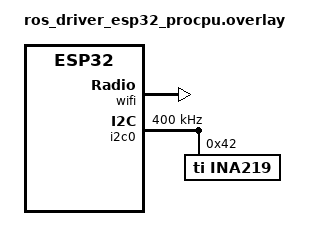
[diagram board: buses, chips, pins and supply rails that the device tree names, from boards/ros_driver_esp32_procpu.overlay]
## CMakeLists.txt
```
cmake_minimum_required(VERSION 3.20.0)

find_package(Zephyr REQUIRED HINTS $ENV{ZEPHYR_BASE})

project(rasprover)

# Shared application code (see applications/common/).
include(${CMAKE_CURRENT_LIST_DIR}/../common/build_id/build_id.cmake)
include(${CMAKE_CURRENT_LIST_DIR}/../common/watchdog/watchdog.cmake)
include(${CMAKE_CURRENT_LIST_DIR}/../common/img_confirm/img_confirm.cmake)
include(${CMAKE_CURRENT_LIST_DIR}/../common/time/time.cmake)

# Pico-ROS generates serdes code for every type in this list, so it is a
# rasprover-specific trim of upstream's examples/example_types.h rather than
# the whole ROS type universe. Must be set before picoros.cmake is included.
set(PICOROS_USER_TYPE_FILE "${CMAKE_CURRENT_LIST_DIR}/src/rasprover_types.h")
include(${CMAKE_CURRENT_LIST_DIR}/../common/picoros/picoros.cmake)

# We always want colored gcc output
zephyr_compile_options(-fdiagnostics-color=always)

target_sources(app PRIVATE
  src/main.c
  src/app_sensors.c
  src/app_settings.c
)

target_sources_ifdef(CONFIG_APP_DISPLAY app PRIVATE src/app_display.c)

target_sources_ifdef(CONFIG_NETWORKING app PRIVATE src/app_network.c)
target_sources_ifdef(CONFIG_APP_PICOROS app PRIVATE src/app_picoros.c)
target_sources_ifdef(CONFIG_APP_MOTORS app PRIVATE src/app_motors.c)
target_sources_ifdef(CONFIG_APP_GIMBAL app PRIVATE src/app_gimbal.c)

if(CONFIG_APP_HTTP)
  target_sources(app PRIVATE src/app_http.c)
  zephyr_linker_sources(SECTIONS sections-rom.ld)
  zephyr_linker_section(NAME http_resource_desc_rasprover_http
    KVMA RAM_REGION GROUP RODATA_REGION
  )
endif()

# On Debian/Ubuntu, libsdl2-dev uses a multiarch include path that Zephyr's
# build doesn't pick up automatically. Add it via pkg-config when present.
# On Debian/Ubuntu, libsdl2-dev puts _real_SDL_config.h under a multiarch
# path (/usr/include/<triplet>/SDL2/) that Zephyr's NSI bottom-layer build
# doesn't find. NSI_BUILD_OPTIONS comes from native_simulator's compile
# options, so we add the multiarch path there.
if(CONFIG_SDL_DISPLAY)
  execute_process(
    COMMAND gcc -dumpmachine
    OUTPUT_VARIABLE _host_triplet OUTPUT_STRIP_TRAILING_WHITESPACE)
  set(_sdl_multiarch "/usr/include/${_host_triplet}")
  if(EXISTS "${_sdl_multiarch}/SDL2/_real_SDL_config.h")
    # For CMake (Zephyr kernel) targets
    zephyr_include_directories("${_sdl_multiarch}")
    # For the NSI bottom-layer Makefile (display_sdl_bottom.c etc.)
    if(TARGET native_simulator)
      target_compile_options(native_simulator INTERFACE "-I${_sdl_multiarch}")
    endif()
  endif()
endif()
```

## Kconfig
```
mainmenu "Application options"

# Workaround for an upstream regression: mcumgr's img_mgmt.c references
# CONFIG_FLASH_BASE_ADDRESS, but arch/Kconfig only defines that symbol for
# ARC/ARM/ARM64/X86/RISCV/RX/OPENRISC/ARCH_POSIX — not Xtensa. ESP32 flash
# partition addresses are zero-based offsets, so 0 is the correct base.
# Remove once deps/zephyr carries the upstream fix.
config FLASH_BASE_ADDRESS
	hex
	depends on XTENSA
	default 0

if DNS_RESOLVER

config DNS_SERVER_IP_ADDRESSES
	default y

config DNS_SERVER1
	default "1.1.1.1"

endif # DNS_RESOLVER

menuconfig APP_DISPLAY
	bool "Enable App Display"
	select DISPLAY
	select LVGL
	# select LV_CONF_MINIMAL

if APP_DISPLAY

config APP_DISPLAY_BLANK_ON_IDLE
	bool "Blank display on idle"
#	default y if SSD1306

choice APP_DISPLAY_WORK_QUEUE
	prompt "Work queue selection for UI updates"

config APP_DISPLAY_WORK_QUEUE_SYSTEM
	bool "Use default system work queue for UI updates"

config APP_DISPLAY_WORK_QUEUE_DEDICATED
	bool "Use dedicated work queue for UI updates"

endchoice

if APP_DISPLAY_WORK_QUEUE_DEDICATED

config APP_DISPLAY_DEDICATED_THREAD_STACK_SIZE
	int "Stack size for dedicated UI thread/queue"
	default 2048

config APP_DISPLAY_DEDICATED_THREAD_PRIORITY
	int "Thread priority for dedicated UI thread/queue"
	default 5

endif # APP_DISPLAY_WORK_QUEUE_DEDICATED

endif # APP_DISPLAY

menuconfig APP_PICOROS
	bool "Enable the Pico-ROS node"
	select PICOROS
	default y
	help
	  Publishes BatteryState and JointState and subscribes to Twist and
	  JointState commands as an rmw_zenoh-compatible ROS 2 node. Replaces
	  the previous raw zenoh-pico publisher, which produced bare CDR under
	  rt/<topic> for a host-side zenoh-bridge-ros2dds.

if APP_PICOROS

config APP_PICOROS_LOCATOR
	string "Zenoh locator for the host router"
	default "tcp/192.168.1.10:7447"
	help
	  Locator string passed to picoros_interface_init() as the connect
	  endpoint. Format is '<protocol>/<host>:<port>'. The host runs
	  rmw_zenohd (the router that ships with rmw_zenoh), whose default
	  listen endpoint is tcp/0.0.0.0:7447.

config APP_PICOROS_NODE_NAME
	string "ROS 2 node name"
	default "rasprover"
	help
	  Name this node announces in its @ros2_lv liveliness token, and the
	  name `ros2 node list` shows. Service key expressions are prefixed
	  with it; topic key expressions are not.

config APP_PICOROS_DOMAIN_ID
	int "ROS domain ID"
	default 0
	range 0 232
	help
	  Must match ROS_DOMAIN_ID on the host. It is the first segment of
	  every key expression, so a mismatch shows up as a node that connects
	  to the router but is invisible to ROS.

config APP_PICOROS_BATTERY_STATE_TOPIC
	string "ROS topic for sensor_msgs/BatteryState"
	default "rasprover/battery_state"
	help
	  Fully qualified ROS topic name without the leading slash. Pico-ROS
	  builds the rmw_zenoh key expression
	  <domain>/<topic>/<type>_/RIHS01_<hash> from it, so unlike the old
	  zenoh keys this must not carry an 'rt/' prefix.

config APP_PICOROS_CMD_VEL_TOPIC
	string "ROS topic for geometry_msgs/Twist velocity commands"
	default "rasprover/cmd_vel"
	depends on APP_MOTORS

config APP_PICOROS_JOINT_STATE_TOPIC
	string "ROS topic for sensor_msgs/JointState feedback"
	default "joint_states"
	depends on APP_MOTORS
	help
	  Unprefixed by default so it lands on the conventional ROS 2
	  /joint_states that robot_state_publisher listens on.

config APP_PICOROS_JOINT_STATE_PUBLISH_HZ
	int "JointState publish rate in Hz"
	default 20
	range 1 100
	depends on APP_MOTORS

endif # APP_PICOROS

menuconfig APP_MOTORS
	bool "Enable differential drive motor control"
	default y
	depends on ACTUATOR
	help
	  Drives the two h-bridge wheel motors from cmd_vel twist commands
	  with open-loop duty mixing and a stop-on-silence watchdog.

if APP_MOTORS

config APP_MOTORS_WHEEL_SEPARATION_MM
	int "Wheel separation (track width) in mm"
	default 125
	help
	  Distance between the left and right wheel contact points.
	  Vendor value for the Waveshare RaspRover is 125 mm.

config APP_MOTORS_MAX_SPEED_MM_S
	int "Wheel speed mapped to 100% duty, in mm/s"
	default 500
	help
	  Open-loop scaling: a commanded wheel speed of this magnitude
	  produces full PWM duty. Tune on hardware.

config APP_MOTORS_CMD_TIMEOUT_MS
	int "Stop motors after this many ms without a cmd_vel"
	default 500

endif # APP_MOTORS

menuconfig APP_GIMBAL
	bool "Enable gimbal bus-servo control"
	default y
	depends on ACTUATOR
	help
	  Controls the Waveshare pan/tilt gimbal through two actuator devices.

if APP_GIMBAL

config APP_PICOROS_GIMBAL_CMD_TOPIC
	string "ROS topic for gimbal JointState commands"
	default "rasprover/gimbal_cmd"
	depends on APP_PICOROS
	help
	  sensor_msgs/JointState position setpoints for the pan/tilt head. A
	  command must name both pan_joint and tilt_joint; partial commands are
	  rejected.

endif # APP_GIMBAL

menuconfig APP_HTTP
	bool "Read-only HTTP status page"
	depends on NETWORKING
	select HTTP_SERVER
	help
	  Serves GET / (a page that polls) and GET /status.json with power,
	  wheel and gimbal state. Unauthenticated and plain HTTP: bring-up
	  only, on a trusted network.

if APP_HTTP

config APP_HTTP_PORT
	int "HTTP status page port"
	default 80

# DRAM is the constraint (see README "Memory budget"): HTTP/1.1 only, two
# clients, and the 3072-byte stack the server picks without FILE_SYSTEM --
# ZMS pulls that in, but no resource here serves from a filesystem.
configdefault HTTP_SERVER_VERSION_2
	default n

configdefault HTTP_SERVER_MAX_CLIENTS
	default 2

configdefault HTTP_SERVER_STACK_SIZE
	default 3072

endif # APP_HTTP

rsource "../common/picoros/Kconfig"
rsource "../common/time/Kconfig"
rsource "../common/build_id/Kconfig"
rsource "../common/watchdog/Kconfig"
rsource "../common/img_confirm/Kconfig"

source "Kconfig.zephyr"
```

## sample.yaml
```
# This file is provided so that the application can be compiled using Twister,
# the Zephyr testing tool. In this file, multiple combinations can be specified,
# so that you can easily test all of them locally or in CI.
sample:
  description: ROS Driver application
  name: ros-driver 
common:
  build_only: true
  integration_platforms:
    - ros_driver
tests:
  app.default: {}
  app.debug:
    extra_overlay_confs:
      - debug.conf
```

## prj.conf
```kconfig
# Application
# 4096, not 3072: picoros_{node,publisher,subscriber}_declare() each build an
# rmw_zenoh key expression in a 400-byte stack buffer (KEYEXPR_SIZE), and the
# liveliness variant adds a 124-byte mangled-topic buffer on top, all from
# main() via app_picoros_init().
#
# This costs 5 KB of DRAM, not 1 KB. zenoh-pico's Zephyr platform layer sizes
# its pool of preallocated pthread stacks at CONFIG_MAIN_STACK_SIZE
# (Z_PTHREAD_STACK_SIZE_DEFAULT in src/system/zephyr/system.c), so raising main
# raises all CONFIG_ZENOH_PICO_THREADS_NUM (4) of them too:
# thread_stack_area grows 12 KB -> 16 KB. CONFIG_ZENOH_PICO_THREADS_NUM=2 below
# claws that back.
CONFIG_MAIN_STACK_SIZE=4096
# The WiFi reconnect path (wifi_connectivity's retry -> NET_REQUEST_WIFI_CONNECT_STORED
# -> esp32_wifi_connect) runs here and peaked at 1888 B measured. sys_work_q_stack
# sits directly above z_main_stack, so an overflow does not fault: it overwrites
# main's saved context while main blocks in app_net_connect(), and the board dies
# later in z_swap. 3072 keeps a third spare.
CONFIG_SYSTEM_WORKQUEUE_STACK_SIZE=3072
CONFIG_SHELL=y
CONFIG_REBOOT=y

# Logging. Without CONFIG_LOG every LOG_* in the app compiles out. Immediate
# mode to the UART: the deferred-mode image failed to boot on this board
# ("Failed to init flash chip" before main); not yet understood.
CONFIG_LOG=y
CONFIG_LOG_MODE_IMMEDIATE=y
CONFIG_SHELL_LOG_BACKEND=n
CONFIG_LOG_BACKEND_UART=y

# Flash and Settings
CONFIG_FLASH=y
CONFIG_FLASH_MAP=y
CONFIG_ZMS=y
CONFIG_SETTINGS=y

# Firmware upgrade (MCUboot OTA receiver)
CONFIG_STREAM_FLASH=y
CONFIG_IMG_MANAGER=y
CONFIG_IMG_ERASE_PROGRESSIVELY=y
CONFIG_MCUBOOT_IMG_MANAGER=y

# MCUmgr: SMP protocol for OTA image upload and OS management
CONFIG_ZCBOR=y
CONFIG_MCUMGR=y
CONFIG_MCUMGR_GRP_IMG=y
CONFIG_MCUMGR_GRP_OS=y

# SMP over shell UART (shares existing console - use mcumgr CLI or nRF Connect)
CONFIG_BASE64=y
CONFIG_MCUMGR_TRANSPORT_SHELL=y

# No Bluetooth (so no SMP over BT): its 25 KB heap reservation plus the OLED's
# LVGL stack do not fit alongside WiFi -- dram0 overflowed by 71.5 KB with all
# three. OTA goes over the shell UART.

# Pico-ROS: appear on the host ROS 2 graph as an rmw_zenoh node over WiFi TCP.
# CONFIG_APP_PICOROS selects CONFIG_PICOROS, which pulls in zenoh-pico with
# publication, subscription and multi-threading; only the link type is left to
# the application. It also selects ZENOH_PICO_QUERY and ZENOH_PICO_QUERYABLE,
# because picoros.c does not compile without them -- see CONFIG_PICOROS_SERVICES.
CONFIG_APP_PICOROS=y
CONFIG_ZENOH_PICO_LINK_TCP=y
CONFIG_NET_SOCKETS=y
CONFIG_NET_TCP=y
CONFIG_DNS_RESOLVER=y
CONFIG_APP_TIME_SYNC=y
# Only the read and lease tasks are ever started, and each slot costs a
# CONFIG_MAIN_STACK_SIZE stack.
CONFIG_ZENOH_PICO_THREADS_NUM=2
# zenoh-pico's z_malloc() is k_malloc(): the *system* heap, shared with the
# ESP32 WiFi driver. Zephyr sizes that heap as max(this, sum of the
# HEAP_MEM_POOL_ADD_SIZE_* reservations ~= 56 KB, mostly WiFi), so a value below
# 56 KB changes nothing. Measured: 32.6 KB in use before the session opens,
# 50.3 KB after, 56.5 KB peak. Too small shows up as "esp32_wifi_adapter: memory
# allocation failed" and failed zenoh declarations.
CONFIG_HEAP_MEM_POOL_SIZE=73728

# Drivers
CONFIG_I2C=y
CONFIG_I2C_SHELL=y
CONFIG_SENSOR=y

# Motors: h-bridge actuators + PCNT encoders
CONFIG_ACTUATOR=y
CONFIG_ACTUATOR_HBRIDGE=y
CONFIG_ACTUATOR_HBRIDGE_ENCODER=y
CONFIG_PWM=y

# Gimbal: UART bus servos exposed as actuators
CONFIG_BUS_SERVO=y
CONFIG_ACTUATOR_BUS_SERVO=y
CONFIG_UART_INTERRUPT_DRIVEN=y
CONFIG_APP_GIMBAL=y

# OLED Display: off on hardware (see Bluetooth above for why); native_sim
# turns it back on for the SDL display.
CONFIG_APP_DISPLAY=n

# Networking
CONFIG_NETWORKING=y
CONFIG_NET_IPV4=y
CONFIG_NET_L2_ETHERNET=y
CONFIG_NET_L2_WIFI_MGMT=y
CONFIG_NET_DHCPV4=y
# A 2 KB zenoh batch alone spans 16 of the 128-byte TX buffers; the default 36
# gave _Z_ERR_TRANSPORT_TX_FAILED on the fourth declaration of the startup burst.
CONFIG_NET_BUF_TX_COUNT=64
CONFIG_NET_PKT_TX_COUNT=24

# WiFi connection management: conn_mgr + stored credentials, with the
# CONNECTIVITY_WIFI_MGMT implementation from the rosterloh-drivers module.
# Provision over the shell: wifi cred add -s <ssid> -k 1 -p <psk>
CONFIG_WIFI=y
CONFIG_NET_CONNECTION_MANAGER=y
CONFIG_NET_CONNECTION_MANAGER_CONNECTIVITY_WIFI_MGMT=y
CONFIG_WIFI_CREDENTIALS=y
CONFIG_WIFI_CONNECTIVITY=y
CONFIG_NET_L2_WIFI_SHELL=y
# CONFIG_ESP_HEAP_RUNTIME=n
# CONFIG_NET_LOG=y
# CONFIG_NET_SHELL=y
```

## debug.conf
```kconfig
# compiler
CONFIG_DEBUG_OPTIMIZATIONS=y

# Make Logging more responsive for better visualization
#CONFIG_LOG_PROCESS_TRIGGER_THRESHOLD=1
#CONFIG_LED_MODULE_LOG_LEVEL_DBG=y
#CONFIG_BUTTON_MODULE_LOG_LEVEL_DBG=y
```

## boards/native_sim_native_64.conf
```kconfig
# Disable hardware not present on native_sim
CONFIG_BT=n
CONFIG_MCUMGR=n
CONFIG_APP_PICOROS=n
CONFIG_PICOROS=n
CONFIG_ZENOH_PICO=n
CONFIG_NETWORKING=n
# native_sim defaults the WPA supplicant on whenever WIFI=y, and it selects
# sockets and Wi-Fi management that cannot exist without NETWORKING.
CONFIG_WIFI=n
CONFIG_NET_L2_ETHERNET=n
CONFIG_NET_L2_WIFI_MGMT=n
CONFIG_NET_DHCPV4=n
CONFIG_NET_CONNECTION_MANAGER=n
CONFIG_NET_CONNECTION_MANAGER_CONNECTIVITY_WIFI_MGMT=n
CONFIG_WIFI_CREDENTIALS=n
CONFIG_WIFI_CONNECTIVITY=n
CONFIG_NET_L2_WIFI_SHELL=n
CONFIG_STREAM_FLASH=n
CONFIG_IMG_MANAGER=n
CONFIG_IMG_ERASE_PROGRESSIVELY=n
CONFIG_MCUBOOT_IMG_MANAGER=n
CONFIG_NEWLIB_LIBC=n
CONFIG_POSIX_API=n

# Motors: fake actuators replace the h-bridge hardware
CONFIG_ACTUATOR_HBRIDGE=n
CONFIG_ACTUATOR_HBRIDGE_ENCODER=n
CONFIG_ACTUATOR_FAKE=y
CONFIG_PWM=n

# Gimbal: native_sim uses fake actuators instead of the hardware bus.
CONFIG_BUS_SERVO=n
CONFIG_ACTUATOR_BUS_SERVO=n
CONFIG_APP_GIMBAL=y

# Display: prj.conf leaves it off (it does not fit the ESP32 alongside WiFi);
# the SDL display brings it back here with the settings it had before.
CONFIG_APP_DISPLAY=y
# lv_timer_handler() needs far more stack than the 1536-byte system workqueue,
# which it silently overran into the neighbouring thread's stack. Give the UI
# its own queue rather than inflating a workqueue shared with BT and net.
# Measured peak for this screen is 3300-3428 B across runs. 5120 keeps a third
# of the stack spare: overflowing it corrupts a neighbour silently rather than
# faulting, so this is sized for margin, not for the measurement. Re-check with
# `kernel thread list` if the screen gains widgets.
CONFIG_APP_DISPLAY_WORK_QUEUE_DEDICATED=y
CONFIG_APP_DISPLAY_DEDICATED_THREAD_STACK_SIZE=5120
# LVGL is not thread-safe and app_display_update_power() runs on the main
# thread, so app_display.c takes lvgl_lock() around every LVGL call.
CONFIG_LV_Z_LVGL_MUTEX=y
# Monochrome SSD1306: render at 1 bpp. Without this LVGL defaults to 16-bit
# colour, so the Zephyr glue never allocates the mono conversion buffer
# (ALLOC_MONOCHROME_CONV_BUFFER is gated on a 1-bpp build) yet still selects
# the mono flush path at runtime -> NULL mono_conv_buf deref on first render.
CONFIG_LV_COLOR_FORMAT_I1=y
# CONFIG_LVGL=y
# CONFIG_LV_CONF_MINIMAL=y
# LVGL allocates from the C-library (runtime) heap rather than a dedicated
# static .noinit pool: dram0_0_seg static window is full (a >4K static pool
# overflows the link), whereas the runtime malloc heap has room.
CONFIG_LV_Z_MEM_POOL_HEAP_LIB_C=y
# The default theme's runtime style allocations don't fit in the ~5K spare
# DRAM heap; use the lightweight mono theme for the 128x32 OLED instead.
CONFIG_LV_USE_THEME_DEFAULT=n
CONFIG_LV_USE_THEME_MONO=y
CONFIG_LV_USE_LOG=y
CONFIG_LV_USE_LABEL=y
CONFIG_LV_FONT_MONTSERRAT_14=y
# Native SDL/LVGL allocates larger host-side objects than the OLED target.
CONFIG_LV_Z_MEM_POOL_SIZE=16384

# Enable logging so app_motors: motors ready is visible in sim output
CONFIG_LOG=y
```

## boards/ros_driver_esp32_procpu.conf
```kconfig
# Coredump to the 4 KB `coredump` flash partition, here rather than in prj.conf
# because native_sim has no coredump support. Read it back over the shell with
# `coredump find`, `coredump print` and `coredump erase`.
CONFIG_DEBUG_COREDUMP=y
CONFIG_DEBUG_COREDUMP_BACKEND_FLASH_PARTITION=y
CONFIG_DEBUG_COREDUMP_SHELL=y

# The partition cannot hold RAM, so keep the faulting thread's registers and
# the top 2 KB of its stack; the default limit is unbounded.
CONFIG_DEBUG_COREDUMP_MEMORY_DUMP_MIN=y
CONFIG_DEBUG_COREDUMP_THREAD_STACK_TOP_LIMIT_FOR_CURRENT=2048
```

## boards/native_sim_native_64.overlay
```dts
/* Match the SSD1306 128x32 dimensions */
&sdl_dc {
	width = <128>;
	height = <32>;
};

/* Fake actuators so motor and gimbal paths run in sim */
/ {
	aliases {
		left-motor = &fake_motor_left;
		right-motor = &fake_motor_right;
		gimbal-pan = &fake_gimbal_pan;
		gimbal-tilt = &fake_gimbal_tilt;
	};

	fake_motor_left: fake-motor-left {
		compatible = "rosterloh,actuator-fake";
	};

	fake_motor_right: fake-motor-right {
		compatible = "rosterloh,actuator-fake";
	};

	fake_gimbal_pan: fake-gimbal-pan {
		compatible = "rosterloh,actuator-fake";
	};

	fake_gimbal_tilt: fake-gimbal-tilt {
		compatible = "rosterloh,actuator-fake";
	};
};
```

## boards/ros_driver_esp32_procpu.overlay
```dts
/* solomon,ssd1306fb was removed; the bus-agnostic successor is solomon,ssd1306 */
&ssd1306_ssd1306_128x32 {
	compatible = "solomon,ssd1306";
};

/* Zephyr's esp32 dtsi leaves the radio disabled; CONFIG_WIFI alone is not enough. */
&wifi {
	status = "okay";
};

&i2c0 {
	/* Run the bus at 400 kHz (Fast-mode), matching the rasprover-rs firmware
	 * that drives the SSD1306/INA219 correctly on this hardware.
	 */
	clock-frequency = <400000>;

	ina219: ina219@42 {
		compatible = "ti,ina219";
		reg = <0x42>;
		brng = <0>;
		pg = <3>;
		sadc = <13>;
		badc = <13>;
		shunt-milliohm = <10>;
		lsb-microamp = <1000>;
	};
};

/*
 * The pan/tilt head's measured geometry.
 *
 * The ros_driver board devicetree creates these two nodes -- the servo
 * connector is on the board -- but carries no values for them, because what is
 * bolted to the connector is not the board's to know. Everything the servos
 * have in common with every other ST3215 (ticks-per-rev 4096, rad-zero-tick
 * 2047, speed 300, accel 20) is already defaulted by
 * rosterloh,actuator-bus-servo.yaml and is deliberately not restated here.
 *
 * Only what is measured on THIS rig belongs below. Both limits must be set:
 * an absent one means unlimited travel, and rad_to_ticks() clamps silently in
 * either direction, so a wrong value shows up as missing travel rather than as
 * an error.
 *
 * The tilt minimum is the measured one, not the one ros_driver's devicetree
 * used to carry. -785 mrad (-45 deg) was measured 2026-08-03 against a levelled
 * bore-sight: the mechanical stop is at -51.0 deg (compliant from -50.0), so
 * this leaves ~6 deg of margin. The board's old -524 gave away 15 deg of the
 * travel that faces the ground once the head hangs inverted, and rad_to_ticks()
 * clamped to it without a word.
 */
&gimbal_pan_servo {
	/* +/-180 deg; pan has no mechanical stop, the limit is the cable loom. */
	position-min-rad-milli = <(-3142)>;
	position-max-rad-milli = <3142>;
};

&gimbal_tilt_servo {
	position-min-rad-milli = <(-785)>;
	/* Positive stop measured +96.1 deg (compliant from +95.4), so +90 deg
	 * keeps ~5.4 deg of margin -- both ends carry a similar margin.
	 */
	position-max-rad-milli = <1571>;

	/* The tilt servo faces the opposite way to the joint's positive sense.
	 * A devicetree boolean cannot be un-set by a later fragment, so this is
	 * asserted here rather than in the board: an application on different
	 * mechanics would otherwise need /delete-property/ to get rid of it.
	 */
	invert-position;
};

/* Slew-limit the wheel duty so a cmd_vel step or reversal does not slam the
 * gearmotors: 0 to full in 0.5 s, full to 0 in 0.25 s. Starting values, not
 * tuned on the rover. The cmd_vel watchdog's COAST bypasses the ramp.
 */
&left_motor {
	ramp-up-permille-per-s = <2000>;
	ramp-down-permille-per-s = <4000>;
};

&right_motor {
	ramp-up-permille-per-s = <2000>;
	ramp-down-permille-per-s = <4000>;
};
```

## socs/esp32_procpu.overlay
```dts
/* Reset-reason record (applications/common/reset_reason) in the last 256 bytes
 * of RTC slow RAM, which software and watchdog resets leave intact.
 */
/ {
	/* Coredump pseudo-device: applications/common/build_id registers the
	 * build-ID note with it at boot, so every dump names its ELF.
	 */
	app_coredump: app-coredump {
		compatible = "zephyr,coredump";
		coredump-type = "COREDUMP_TYPE_MEMCPY";
	};

	memory@50001f00 {
		compatible = "zephyr,memory-region", "mmio-sram";
		reg = <0x50001f00 0x100>;
		ranges = <0x0 0x50001f00 0x100>;
		#address-cells = <1>;
		#size-cells = <1>;
		zephyr,memory-region = "RTC_SLOW_RAM_RETAINED_MEM";
		status = "okay";

		retainedmem0: retainedmem {
			compatible = "zephyr,retained-ram";
			ranges;
			#address-cells = <1>;
			#size-cells = <1>;
			status = "okay";

			app_reset_reason: retention@0 {
				compatible = "zephyr,retention";
				reg = <0x0 0x40>;
				prefix = [52 53 54 52];
				checksum = <2>;
			};
		};
	};
};

/* 8 KB - 256 bytes, so the linker keeps out of the retained region. */
&rtc_slow_ram {
	reg = <0x50000000 0x1f00>;
};
```

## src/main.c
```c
#include <zephyr/logging/log.h>
LOG_MODULE_REGISTER(main, LOG_LEVEL_DBG);

#include "app_display.h"
#include "app_gimbal.h"
#include "app_http.h"
#include "app_img_confirm.h"
#include "app_motors.h"
#include "app_network.h"
#include "app_picoros.h"
#include "app_sensors.h"
#include "app_settings.h"
#include "app_time.h"
#include "app_watchdog.h"
#include <zephyr/drivers/i2c.h>
#include <zephyr/init.h>
#include <zephyr/kernel.h>

/* i2c0 comes up busy from a cold boot, so the SSD1306, ICM-20948 and INA219 all
 * fail their init with -EBUSY and stay DISABLED for the life of the boot --
 * Zephyr never retries a failed driver init. i2c_esp32 provides .recover_bus
 * but nothing calls it, so clear the bus here, after the controller
 * (I2C_INIT_PRIORITY=50) and before its children (DISPLAY=85, SENSOR=90).
 */
static int recover_i2c0(void)
{
	const struct device *i2c0 = DEVICE_DT_GET(DT_NODELABEL(i2c0));

	if (!device_is_ready(i2c0)) {
		return -ENODEV;
	}

	return i2c_recover_bus(i2c0);
}

SYS_INIT(recover_i2c0, POST_KERNEL, 60);

static k_tid_t _system_thread = 0;

void wake_system_thread(void)
{
	k_wakeup(_system_thread);
}

int main(void)
{
	LOG_INF("Firmware version: %s", STRINGIFY(APP_VERSION_MAJOR) "." STRINGIFY(APP_VERSION_MINOR) "." STRINGIFY(APP_PATCHLEVEL));

	_system_thread = k_current_get();

	/* Cover the init sequence, not just the superloop: the hangs this
	 * watchdog exists for happen during boot, inside app_net_connect().
	 *
	 * Sized off the longest legitimate *single* step rather than the total,
	 * because the channel is fed between steps. That step is
	 * app_net_connect(), bounded at NET_CONNECT_TIMEOUT (30 s) by its
	 * k_sem_take(). Everything else is either non-blocking (app_time_start()
	 * and app_display_init() only submit work) or bounded well under it
	 * (picoros_interface_init()'s z_open() by
	 * PICOROS_TRANSPORT_CONNECT_TIMEOUT_MS, 10 s; the locator
	 * is an IP literal, so no DNS resolve). 60 s is 2x that worst step,
	 * leaving room for a driver that overruns its own bound. */
	app_watchdog_init();
	int wdt_channel = app_watchdog_register("boot", 60000);

	/* Healthy = first pico-ros publish; see app_picoros.c. */
	app_img_confirm_arm();

	app_sensors_init();
#ifdef CONFIG_APP_MOTORS
	app_motors_init();
#endif
#ifdef CONFIG_APP_GIMBAL
	app_gimbal_init();
#endif

	app_watchdog_feed(wdt_channel);
	app_net_connect();
	/* Bound to INADDR_ANY, so a link that comes up later is still served. */
	(void)app_http_start();
	if (app_net_ipv4_ready()) {
		app_watchdog_feed(wdt_channel);
		app_time_start();
		app_picoros_init();
	} else {
		LOG_WRN("Network unavailable; skipping time sync and pico-ros");
	}

	app_watchdog_feed(wdt_channel);
#ifdef CONFIG_APP_DISPLAY
	app_display_init();
#endif

	/* Boot done: swap the boot channel for the steady-state one. Its timeout
	 * is derived from the loop delay rather than hardcoded, so it can't
	 * silently break when that setting changes. One registration is enough
	 * because the only writer of the delay is settings_load(), which runs
	 * from SYS_INIT at APPLICATION level — i.e. before main() — so it cannot
	 * change while the loop runs.
	 * ponytail: single registration; if a runtime setter for the loop delay
	 * is ever added, re-register (unregister + register) when it changes.
	 *
	 * 3x the loop period plus 10 s of headroom tolerates a slow sensor read
	 * or a blocked pico-ros publish while still catching a real stall. */
	app_watchdog_unregister(wdt_channel);
	wdt_channel = app_watchdog_register("main", get_loop_delay_s() * 3000 + 10000);

	while (true) {
		app_watchdog_feed(wdt_channel);
		app_sensors_read_and_stream();

		k_sleep(K_SECONDS(get_loop_delay_s()));
	}
}
```

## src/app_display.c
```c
#include <zephyr/logging/log.h>
LOG_MODULE_REGISTER(app_display, LOG_LEVEL_DBG);

#include <stdio.h>
#include <zephyr/device.h>
#include <zephyr/devicetree.h>
#include <zephyr/drivers/display.h>
#include <zephyr/init.h>
#include <zephyr/kernel.h>
#include <lvgl.h>
#include <lvgl_zephyr.h>

#include <zephyr/app_version.h>

#include "app_display.h"

static const struct device *display = DEVICE_DT_GET_OR_NULL(DT_CHOSEN(zephyr_display));
static bool initialised;

static lv_obj_t *power_label;
static lv_obj_t *status_label;

/* --- tick / work --------------------------------------------------------- */

/* LVGL is not thread-safe and app_display_update_power() is called from the
 * main thread, so every LVGL call is taken under the module's mutex.
 */
static void display_tick_cb(struct k_work *work)
{
	lvgl_lock();
	lv_timer_handler();
	lvgl_unlock();
}

K_WORK_DEFINE(display_tick_work, display_tick_cb);

#if IS_ENABLED(CONFIG_APP_DISPLAY_WORK_QUEUE_DEDICATED)
K_THREAD_STACK_DEFINE(display_work_stack_area, CONFIG_APP_DISPLAY_DEDICATED_THREAD_STACK_SIZE);
static struct k_work_q display_work_q;
#endif

static struct k_work_q *app_display_work_q(void)
{
#if IS_ENABLED(CONFIG_APP_DISPLAY_WORK_QUEUE_DEDICATED)
	return &display_work_q;
#else
	return &k_sys_work_q;
#endif
}

static void display_timer_cb(struct k_timer *timer)
{
	k_work_submit_to_queue(app_display_work_q(), &display_tick_work);
}

K_TIMER_DEFINE(display_timer, display_timer_cb, NULL);

static void unblank_display_cb(struct k_work *work)
{
	display_blanking_off(display);
	k_timer_start(&display_timer, K_MSEC(10), K_MSEC(10));
}

K_WORK_DEFINE(unblank_work, unblank_display_cb);

#if IS_ENABLED(CONFIG_APP_DISPLAY_BLANK_ON_IDLE)
static void blank_display_cb(struct k_work *work)
{
	k_timer_stop(&display_timer);
	display_blanking_on(display);
}

K_WORK_DEFINE(blank_work, blank_display_cb);

void app_display_blank(void)
{
	k_work_submit_to_queue(app_display_work_q(), &blank_work);
}

void app_display_unblank(void)
{
	k_work_submit_to_queue(app_display_work_q(), &unblank_work);
}
#endif

/* --- public update ------------------------------------------------------- */

void app_display_update_power(double v, double i, double p)
{
	if (!initialised) {
		return;
	}

	char buf[32];

	snprintf(buf, sizeof(buf), "%.2fV  %.3fA  %.2fW", v, i, p);

	lvgl_lock();
	lv_label_set_text(power_label, buf);
	lvgl_unlock();
}

/* --- screen build -------------------------------------------------------- */

static lv_obj_t *build_screen(void)
{
	lv_obj_t *scr = lv_obj_create(NULL);

	lv_obj_set_style_bg_color(scr, lv_color_black(), LV_PART_MAIN);
	lv_obj_set_style_text_color(scr, lv_color_white(), LV_PART_MAIN);
	lv_obj_set_style_pad_all(scr, 0, LV_PART_MAIN);

	power_label = lv_label_create(scr);
	lv_label_set_text(power_label, "--.- V  -.--- A  -.- W");
	lv_obj_set_style_text_color(power_label, lv_color_white(), LV_PART_MAIN);
	lv_obj_align(power_label, LV_ALIGN_TOP_LEFT, 2, 0);

	status_label = lv_label_create(scr);
	lv_label_set_text(status_label, "Rasprover v" APP_VERSION_STRING);
	lv_obj_set_style_text_color(status_label, lv_color_make(0x80, 0x80, 0x80), LV_PART_MAIN);
	lv_obj_align(status_label, LV_ALIGN_BOTTOM_LEFT, 2, 0);

	return scr;
}

/* --- initialise ---------------------------------------------------------- */

static void initialise_display_cb(struct k_work *work)
{
	if (!device_is_ready(display)) {
		LOG_ERR("Display device not ready");
		return;
	}

	lvgl_lock();
	lv_screen_load(build_screen());
	lvgl_unlock();
	initialised = true;

	k_work_submit_to_queue(app_display_work_q(), &unblank_work);
	LOG_INF("Display initialised");
}

K_WORK_DEFINE(init_work, initialise_display_cb);

int app_display_init(void)
{
#if IS_ENABLED(CONFIG_APP_DISPLAY_WORK_QUEUE_DEDICATED)
	/* Named so its stack shows up identifiably in `kernel thread list`,
	 * which is how the stack budget above is checked.
	 */
	static const struct k_work_queue_config cfg = {.name = "display"};

	k_work_queue_start(&display_work_q, display_work_stack_area,
			   K_THREAD_STACK_SIZEOF(display_work_stack_area),
			   CONFIG_APP_DISPLAY_DEDICATED_THREAD_PRIORITY, &cfg);
#endif
	k_work_submit_to_queue(app_display_work_q(), &init_work);
	return 0;
}
```

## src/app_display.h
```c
#ifndef APP_DISPLAY_H
#define APP_DISPLAY_H

int app_display_init(void);
void app_display_update_power(double v, double i, double p);

#if IS_ENABLED(CONFIG_APP_DISPLAY_BLANK_ON_IDLE)
void app_display_blank(void);
void app_display_unblank(void);
#endif

#endif /* APP_DISPLAY_H */
```

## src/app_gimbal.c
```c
#include <zephyr/logging/log.h>
LOG_MODULE_REGISTER(app_gimbal, LOG_LEVEL_INF);

#include <zephyr/actuator/actuator.h>
#include <zephyr/device.h>
#ifdef CONFIG_BUS_SERVO
#include <zephyr/drivers/uart.h>
#include <drivers/bus_servo.h>
#endif

#include "app_gimbal.h"

#ifdef CONFIG_BUS_SERVO
#define SERVO_BUS_NODE DT_NODELABEL(gimbal_servo_bus)
#endif

static const struct device *const pan = DEVICE_DT_GET(DT_ALIAS(gimbal_pan));
static const struct device *const tilt = DEVICE_DT_GET(DT_ALIAS(gimbal_tilt));
static bool ready;

static bool read_joint(const struct device *dev, const char *name,
		       struct app_gimbal_joint_state *joint)
{
	struct actuator_feedback fb;

	if (actuator_read_feedback(dev, &fb) != 0 || !(fb.valid_mask & ACTUATOR_FB_POSITION)) {
		return false;
	}

	*joint = (struct app_gimbal_joint_state){
		.name = name,
		.position_rad = fb.position,
		.velocity_rad_s = (fb.valid_mask & ACTUATOR_FB_VELOCITY) ? fb.velocity : 0.0f,
	};
	return true;
}

bool app_gimbal_init(void)
{
#ifdef CONFIG_BUS_SERVO
	/* The bus device has no init hook: the application configures its UART. */
	struct bus_servo_iface_param param = {
		.rx_timeout_us = 50000,
		.serial =
			{
				.baud = DT_PROP(DT_PARENT(SERVO_BUS_NODE), current_speed),
				.parity = UART_CFG_PARITY_NONE,
			},
	};
	int iface = bus_servo_iface_get_by_name(DEVICE_DT_NAME(SERVO_BUS_NODE));

	if (iface < 0 || bus_servo_init(iface, param) != 0) {
		LOG_ERR("gimbal servo bus init failed");
		return false;
	}
#endif

	if (!device_is_ready(pan) || !device_is_ready(tilt)) {
		LOG_ERR("gimbal devices not ready");
		return false;
	}

	if (actuator_enable(pan) != 0 || actuator_enable(tilt) != 0) {
		LOG_ERR("gimbal enable failed");
		return false;
	}

	ready = true;
	LOG_INF("gimbal ready");
	return true;
}

void app_gimbal_set_positions(float pan_rad, float tilt_rad)
{
	if (!ready) {
		return;
	}

	if (actuator_set_position(pan, pan_rad) != 0) {
		LOG_WRN("pan_joint setpoint failed");
	}
	if (actuator_set_position(tilt, tilt_rad) != 0) {
		LOG_WRN("tilt_joint setpoint failed");
	}
}

bool app_gimbal_read_joint_state(struct app_gimbal_joint_state joints[APP_GIMBAL_JOINT_COUNT])
{
	if (!ready || joints == NULL) {
		return false;
	}

	return read_joint(pan, "pan_joint", &joints[0]) &&
	       read_joint(tilt, "tilt_joint", &joints[1]);
}
```

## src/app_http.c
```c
/*
 * Read-only status page: GET / is a page that polls GET /status.json.
 *
 * The server runs every callback on its own thread at the lowest preemptible
 * priority, one callback at a time, so the single response buffer is safe.
 * Everything it reports is a snapshot or a locked driver read; nothing here
 * can command the robot.
 */

#include <zephyr/logging/log.h>
LOG_MODULE_REGISTER(app_http, LOG_LEVEL_INF);

#include <zephyr/app_version.h>
#include <zephyr/kernel.h>
#include <zephyr/net/http/server.h>
#include <zephyr/net/http/service.h>

#include "app_gimbal.h"
#include "app_http.h"
#include "app_motors.h"
#include "app_network.h"
#include "app_sensors.h"
#include "app_time.h"

static uint16_t http_port = CONFIG_APP_HTTP_PORT;
HTTP_SERVICE_DEFINE(rasprover_http, NULL, &http_port, CONFIG_HTTP_SERVER_MAX_CLIENTS, 1, NULL, NULL,
		    NULL);

static const char index_html[] =
	"<!doctype html><meta charset=utf-8><title>rasprover</title>"
	"<pre id=s>loading</pre><script>"
	"setInterval(async()=>{try{s.textContent=JSON.stringify("
	"await(await fetch('/status.json')).json(),null,2)}catch(e){s.textContent=e}},1000)"
	"</script>";

static struct http_resource_detail_static index_detail = {
	.common =
		{
			.type = HTTP_RESOURCE_TYPE_STATIC,
			.bitmask_of_supported_http_methods = BIT(HTTP_GET),
			.content_type = "text/html",
		},
	.static_data = index_html,
	.static_data_len = sizeof(index_html) - 1,
};

/* Worst case with int32-sized values is ~540 bytes. */
static char body[640];

#define MILLI(x) ((long long)((x) * 1000.0))

static size_t append(size_t len, const char *fmt, ...)
{
	va_list ap;
	int n;

	if (len >= sizeof(body)) {
		return len;
	}
	va_start(ap, fmt);
	n = vsnprintk(body + len, sizeof(body) - len, fmt, ap);
	va_end(ap);
	return len + MAX(n, 0);
}

/* "name":[{...},{...}] or "name":null when the joints can't be read. */
#define APPEND_JOINTS(len, key, joints, ok)                                                        \
	do {                                                                                       \
		if (!(ok)) {                                                                       \
			len = append(len, ",\"" key "\":null");                                    \
			break;                                                                     \
		}                                                                                  \
		len = append(len, ",\"" key "\":[");                                               \
		ARRAY_FOR_EACH(joints, j) {                                                        \
			len = append(len,                                                          \
				     "%s{\"name\":\"%s\",\"position_mrad\":%lld,"                  \
				     "\"velocity_mrad_s\":%lld}",                                  \
				     j ? "," : "", joints[j].name, MILLI(joints[j].position_rad),  \
				     MILLI(joints[j].velocity_rad_s));                             \
		}                                                                                  \
		len = append(len, "]");                                                            \
	} while (0)

static size_t build_status(void)
{
	struct app_power pw;
	size_t len;

	len = append(0, "{\"version\":\"%s\",\"uptime_ms\":%lld,\"net\":%s,\"time_synced\":%s",
		     APP_VERSION_STRING, k_uptime_get(), app_net_ipv4_ready() ? "true" : "false",
		     app_time_synced() ? "true" : "false");

	if (app_sensors_last_power(&pw)) {
		len = append(len,
			     ",\"power\":{\"voltage_mv\":%d,\"current_ma\":%d,\"power_mw\":%d,"
			     "\"age_ms\":%lld}",
			     pw.voltage_mv, pw.current_ma, pw.power_mw,
			     k_uptime_get() - pw.uptime_ms);
	} else {
		len = append(len, ",\"power\":null");
	}

#ifdef CONFIG_APP_MOTORS
	struct app_motors_joint_state wheels[APP_MOTORS_JOINT_COUNT];

	APPEND_JOINTS(len, "wheels", wheels, app_motors_read_joint_state(wheels));
#endif
#ifdef CONFIG_APP_GIMBAL
	struct app_gimbal_joint_state gimbal[APP_GIMBAL_JOINT_COUNT];

	APPEND_JOINTS(len, "gimbal", gimbal, app_gimbal_read_joint_state(gimbal));
#endif

	return append(len, "}");
}

static int status_handler(struct http_client_ctx *client, enum http_transaction_status status,
			  const struct http_request_ctx *req, struct http_response_ctx *rsp,
			  void *user_data)
{
	size_t len;

	ARG_UNUSED(client);
	ARG_UNUSED(req);
	ARG_UNUSED(user_data);

	if (status != HTTP_SERVER_REQUEST_DATA_FINAL) {
		return 0;
	}

	len = build_status();
	if (len >= sizeof(body)) {
		LOG_ERR("status.json truncated");
		return -ENOMEM;
	}

	rsp->body = (const uint8_t *)body;
	rsp->body_len = len;
	rsp->final_chunk = true;
	return 0;
}

static struct http_resource_detail_dynamic status_detail = {
	.common =
		{
			.type = HTTP_RESOURCE_TYPE_DYNAMIC,
			.bitmask_of_supported_http_methods = BIT(HTTP_GET),
			.content_type = "application/json",
		},
	.cb = status_handler,
};

HTTP_RESOURCE_DEFINE(index_res, rasprover_http, "/", &index_detail);
HTTP_RESOURCE_DEFINE(status_res, rasprover_http, "/status.json", &status_detail);

int app_http_start(void)
{
	int ret = http_server_start();

	if (ret != 0) {
		LOG_ERR("http server start failed: %d", ret);
		return ret;
	}

	LOG_INF("status page on port %u", http_port);
	return 0;
}
```

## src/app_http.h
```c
#ifndef APP_HTTP_H
#define APP_HTTP_H

#if IS_ENABLED(CONFIG_APP_HTTP)
int app_http_start(void);
#else
static inline int app_http_start(void)
{
	return 0;
}
#endif

#endif /* APP_HTTP_H */
```

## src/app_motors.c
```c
#include <zephyr/logging/log.h>
LOG_MODULE_REGISTER(app_motors, LOG_LEVEL_INF);

#include <zephyr/actuator/actuator.h>
#include <zephyr/kernel.h>

#include "app_motors.h"

static const struct device *const left_motor = DEVICE_DT_GET(DT_ALIAS(left_motor));
static const struct device *const right_motor = DEVICE_DT_GET(DT_ALIAS(right_motor));

static struct k_work_delayable cmd_watchdog;
static bool ready;

static bool read_joint(const struct device *motor, const char *name,
		       struct app_motors_joint_state *joint)
{
	struct actuator_feedback fb;

	if (actuator_read_feedback(motor, &fb) != 0 || !(fb.valid_mask & ACTUATOR_FB_POSITION)) {
		return false;
	}

	*joint = (struct app_motors_joint_state){
		.name = name,
		.position_rad = fb.position,
		.velocity_rad_s = (fb.valid_mask & ACTUATOR_FB_VELOCITY) ? fb.velocity : 0.0f,
	};
	return true;
}

static void cmd_watchdog_handler(struct k_work *work)
{
	ARG_UNUSED(work);

	(void)actuator_set_duty(left_motor, 0.0f);
	(void)actuator_set_duty(right_motor, 0.0f);
	/* Must come after set_duty(0): setpoints reset the stage to NORMAL,
	 * so COAST last leaves the bridge high-Z. Best-effort: backends without
	 * ACTUATOR_CAP_DRIVE_MODE reject it.
	 */
	(void)actuator_set_drive_mode(left_motor, ACTUATOR_DRIVE_MODE_COAST);
	(void)actuator_set_drive_mode(right_motor, ACTUATOR_DRIVE_MODE_COAST);
	LOG_WRN("cmd_vel timeout, motors stopped");
}

bool app_motors_init(void)
{
	if (!device_is_ready(left_motor) || !device_is_ready(right_motor)) {
		LOG_ERR("motor devices not ready");
		return false;
	}

	if (actuator_enable(left_motor) != 0 || actuator_enable(right_motor) != 0) {
		LOG_ERR("motor enable failed");
		return false;
	}

	k_work_init_delayable(&cmd_watchdog, cmd_watchdog_handler);
	ready = true;
	LOG_INF("motors ready");
	return true;
}

void app_motors_cmd_vel(float linear_x, float angular_z)
{
	if (!ready) {
		return;
	}

	const float half_track_m = (float)CONFIG_APP_MOTORS_WHEEL_SEPARATION_MM / 2000.0f;
	const float max_speed_m_s = (float)CONFIG_APP_MOTORS_MAX_SPEED_MM_S / 1000.0f;
	float v_left = linear_x - angular_z * half_track_m;
	float v_right = linear_x + angular_z * half_track_m;

	/* Open loop: duty scales linearly with speed, full duty at max_speed. */
	(void)actuator_set_duty(left_motor, CLAMP(v_left / max_speed_m_s, -1.0f, 1.0f));
	(void)actuator_set_duty(right_motor, CLAMP(v_right / max_speed_m_s, -1.0f, 1.0f));

	k_work_reschedule(&cmd_watchdog, K_MSEC(CONFIG_APP_MOTORS_CMD_TIMEOUT_MS));
}

bool app_motors_read_joint_state(struct app_motors_joint_state joints[APP_MOTORS_JOINT_COUNT])
{
	if (!ready || joints == NULL) {
		return false;
	}

	return read_joint(left_motor, "left_wheel_joint", &joints[0]) &&
	       read_joint(right_motor, "right_wheel_joint", &joints[1]);
}
```

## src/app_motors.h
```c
#ifndef __APP_MOTORS_H__
#define __APP_MOTORS_H__

#include <stdbool.h>

#define APP_MOTORS_JOINT_COUNT 2

struct app_motors_joint_state {
	const char *name;
	double position_rad;
	double velocity_rad_s;
};

bool app_motors_init(void);

/* Differential-drive a geometry_msgs/Twist: linear.x (m/s), angular.z (rad/s). */
void app_motors_cmd_vel(float linear_x, float angular_z);

bool app_motors_read_joint_state(struct app_motors_joint_state joints[APP_MOTORS_JOINT_COUNT]);

#endif /* __APP_MOTORS_H__ */
```

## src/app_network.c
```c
#include <zephyr/logging/log.h>
LOG_MODULE_REGISTER(app_network, LOG_LEVEL_INF);

#include <zephyr/kernel.h>
#include <zephyr/net/conn_mgr_connectivity.h>
#include <zephyr/net/conn_mgr_monitor.h>
#include <zephyr/net/net_event.h>
#include <zephyr/net/net_mgmt.h>

#include "app_network.h"

/* Connection management lives in the wifi_connectivity module (conn_mgr
 * CONNECTIVITY_WIFI_MGMT implementation); this file only tracks L4 state
 * and blocks boot until the network is up or the timeout expires.
 */

#define NET_CONNECT_TIMEOUT K_SECONDS(30)

static K_SEM_DEFINE(l4_connected_sem, 0, 1);
static atomic_t l4_connected;
static struct net_mgmt_event_callback l4_cb;

static void l4_event_handler(struct net_mgmt_event_callback *cb, uint64_t mgmt_event,
			     struct net_if *iface)
{
	switch (mgmt_event) {
	case NET_EVENT_L4_IPV4_CONNECTED:
		atomic_set(&l4_connected, 1);
		k_sem_give(&l4_connected_sem);
		break;
	case NET_EVENT_L4_IPV4_DISCONNECTED:
		atomic_set(&l4_connected, 0);
		break;
	}
}

void app_net_connect(void)
{
	int err;

	net_mgmt_init_event_callback(&l4_cb, l4_event_handler,
				     NET_EVENT_L4_IPV4_CONNECTED | NET_EVENT_L4_IPV4_DISCONNECTED);
	net_mgmt_add_event_callback(&l4_cb);
	conn_mgr_mon_resend_status();

	err = conn_mgr_all_if_connect(true);
	if (err) {
		LOG_WRN("Failed to start network connection: %d", err);
	}

	LOG_INF("Waiting for network connectivity");
	if (k_sem_take(&l4_connected_sem, NET_CONNECT_TIMEOUT)) {
		LOG_WRN("Network not ready; continuing without it "
			"(store credentials with 'wifi cred add')");
	}
}

bool app_net_ipv4_ready(void)
{
	return atomic_get(&l4_connected) != 0;
}
```

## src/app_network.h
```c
#ifndef __APP_NETWORK_H__
#define __APP_NETWORK_H__

#include <zephyr/kernel.h>

#if IS_ENABLED(CONFIG_NETWORKING)
void app_net_connect(void);
bool app_net_ipv4_ready(void);
#else
static inline void app_net_connect(void)
{
}

static inline bool app_net_ipv4_ready(void)
{
	return false;
}
#endif

#endif /* __APP_NETWORK_H__ */
```

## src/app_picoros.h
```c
#ifndef APP_PICOROS_H
#define APP_PICOROS_H

#include <stdbool.h>

#if IS_ENABLED(CONFIG_APP_PICOROS)
bool app_picoros_init(void);
void app_picoros_publish_power(double voltage, double current, double power);
#else
static inline bool app_picoros_init(void)
{
	return false;
}
static inline void app_picoros_publish_power(double v, double i, double p)
{
}
#endif

#endif /* APP_PICOROS_H */
```

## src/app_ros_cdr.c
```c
#include "app_ros_cdr.h"

#include <string.h>
#include <zephyr/cdr/cdr.h>

#define F32_QNAN_LE         0x7FC00000u
#define JOINT_CMD_MAX_NAMES 8

static void encode_header(struct cdr_writer *w, struct app_ros_time stamp)
{
	cdr_write_encapsulation(w);
	cdr_write_u32(w, stamp.sec);
	cdr_write_u32(w, stamp.nanosec);
	cdr_write_string(w, ""); /* frame_id */
}

static void encode_f32_nan(struct cdr_writer *w)
{
	cdr_write_u32(w, F32_QNAN_LE);
}

size_t app_ros_encode_battery_state(uint8_t *buf, size_t buf_size, struct app_ros_time stamp,
				    float voltage, float current)
{
	struct cdr_writer w;

	cdr_writer_init(&w, buf, buf_size);

	encode_header(&w, stamp);
	cdr_write_f32(&w, voltage);
	encode_f32_nan(&w); /* temperature */
	cdr_write_f32(&w, current);
	encode_f32_nan(&w); /* charge */
	encode_f32_nan(&w); /* capacity */
	encode_f32_nan(&w); /* design_capacity */
	encode_f32_nan(&w); /* percentage */

	cdr_write_u8(&w, 2); /* POWER_SUPPLY_STATUS_DISCHARGING = 2 */
	cdr_write_u8(&w, 1); /* POWER_SUPPLY_HEALTH_GOOD = 1 */
	cdr_write_u8(&w, 0); /* POWER_SUPPLY_TECHNOLOGY_UNKNOWN = 0 */
	cdr_write_u8(&w, 1); /* present */

	cdr_write_u32(&w, 0); /* cell_voltage */
	cdr_write_u32(&w, 0); /* cell_temperature */
	cdr_write_string(&w, "");
	cdr_write_string(&w, "");

	return cdr_writer_finish(&w);
}

size_t app_ros_encode_joint_state(uint8_t *buf, size_t buf_size, struct app_ros_time stamp,
				  const struct app_ros_joint_sample *joints, size_t joint_count)
{
	struct cdr_writer w;

	if (joints == NULL && joint_count != 0) {
		return 0;
	}

	cdr_writer_init(&w, buf, buf_size);
	encode_header(&w, stamp);

	cdr_write_u32(&w, (uint32_t)joint_count);
	for (size_t i = 0; i < joint_count; i++) {
		if (joints[i].name == NULL) {
			return 0;
		}
		cdr_write_string(&w, joints[i].name);
	}

	cdr_write_u32(&w, (uint32_t)joint_count);
	for (size_t i = 0; i < joint_count; i++) {
		cdr_write_f64(&w, joints[i].position);
	}

	cdr_write_u32(&w, (uint32_t)joint_count);
	for (size_t i = 0; i < joint_count; i++) {
		cdr_write_f64(&w, joints[i].velocity);
	}

	cdr_write_u32(&w, 0); /* effort */

	return cdr_writer_finish(&w);
}

bool app_ros_decode_joint_command(const uint8_t *buf, size_t len, struct app_ros_joint_command *out)
{
	bool is_pan[JOINT_CMD_MAX_NAMES] = {0};
	bool is_tilt[JOINT_CMD_MAX_NAMES] = {0};

	if (buf == NULL || out == NULL) {
		return false;
	}

	struct cdr_reader r;

	cdr_reader_init(&r, buf, len);
	if (!cdr_read_encapsulation(&r)) {
		return false;
	}

	struct app_ros_joint_command cmd = {0};

	(void)cdr_read_u32(&r); /* stamp.sec */
	(void)cdr_read_u32(&r); /* stamp.nanosec */
	cdr_skip_string(&r);    /* frame_id */

	uint32_t name_count = cdr_read_u32(&r);

	if (!cdr_reader_ok(&r) || name_count > JOINT_CMD_MAX_NAMES) {
		return false;
	}

	for (uint32_t i = 0; i < name_count; i++) {
		const char *name;
		uint32_t name_len;

		if (!cdr_read_string_ref(&r, &name, &name_len)) {
			return false;
		}
		is_pan[i] = (name_len == sizeof("pan_joint")) &&
			    (memcmp(name, "pan_joint", name_len) == 0);
		is_tilt[i] = (name_len == sizeof("tilt_joint")) &&
			     (memcmp(name, "tilt_joint", name_len) == 0);
	}

	uint32_t position_count = cdr_read_u32(&r);

	if (!cdr_reader_ok(&r) || position_count != name_count) {
		return false;
	}

	for (uint32_t i = 0; i < position_count; i++) {
		double position = cdr_read_f64(&r);

		if (!cdr_reader_ok(&r)) {
			return false;
		}
		if (is_pan[i]) {
			cmd.has_pan = true;
			cmd.pan_position = position;
		}
		if (is_tilt[i]) {
			cmd.has_tilt = true;
			cmd.tilt_position = position;
		}
	}

	if (!cmd.has_pan || !cmd.has_tilt) {
		return false;
	}

	*out = cmd;
	return true;
}
```
